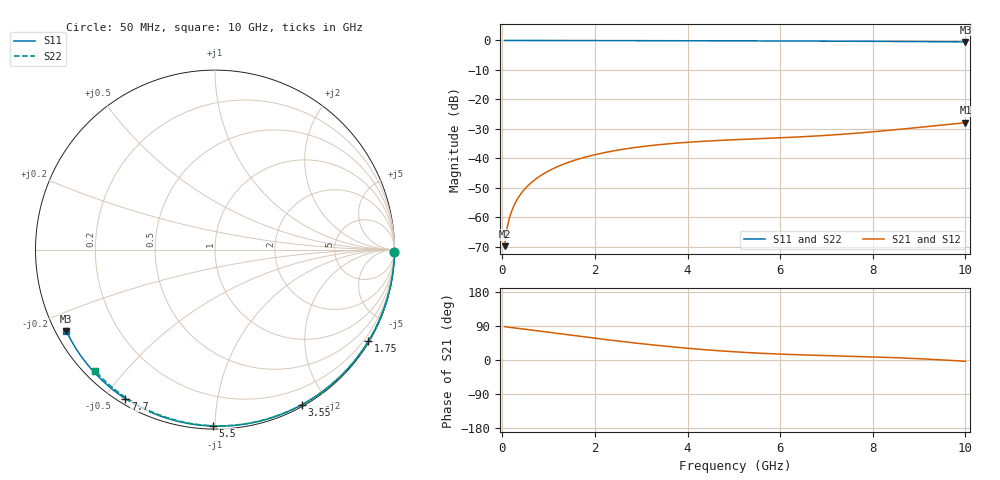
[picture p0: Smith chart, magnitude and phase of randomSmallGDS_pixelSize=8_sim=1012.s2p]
! freq	dB(S11)	phase(S11)	dB(S12)	phase(S12)
!  dB(S21)	phase(S21)	dB(S22)	phase(S22)
!S-par simulation data
#  GHz  S  DB  R 50
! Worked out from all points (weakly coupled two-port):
!   200 points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, 50 MHz to 10 GHz, reference 50 ohm
!   highest |S21| = -27.88 dB at 10 GHz (marker M1); lowest = -69.7 dB at 50 MHz (marker M2)
!   lowest |S11| = -0.5 dB at 10 GHz (marker M3), VSWR 34.93, Z = 1.53 - j12.8 ohm
!   |S11| at or under -10 dB: nowhere
!   |S22| runs from -0.4 to 0.0 dB; largest |S21 - S12| = 0
!   S11 on the Smith chart (normalised r, x): 50 MHz: open; 1.75 GHz: 0.03, -3.62; 3.55 GHz: 0.02, -1.70; 5.5 GHz: 0.02, -0.99; 7.7 GHz: 0.02, -0.57; 10 GHz: 0.03, -0.26
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0.05  -0.00 -0.9  -69.74 88.2  -69.74 88.2  -0.00 -0.8
0.1  -0.00 -1.8  -63.84 87.0  -63.84 87.0  -0.00 -1.6
0.15  -0.00 -2.7  -60.40 86.2  -60.40 86.2  -0.00 -2.4
0.2  -0.00 -3.6  -57.95 85.5  -57.95 85.5  -0.00 -3.2
0.25  -0.00 -4.5  -56.05 84.8  -56.05 84.8  -0.00 -4.0
0.35  -0.00 -6.3  -53.17 83.3  -53.17 83.3  -0.00 -5.5
0.5  -0.01 -9.0  -50.11 81.1  -50.11 81.1  -0.01 -7.9
0.7  -0.01 -12.5  -47.24 77.9  -47.24 77.9  -0.01 -11.0
1  -0.02 -17.8  -44.24 73.1  -44.24 73.1  -0.02 -15.7
1.35  -0.03 -24.0  -41.78 67.5  -41.78 67.5  -0.03 -21.1
1.75  -0.04 -30.9  -39.74 61.2  -39.74 61.2  -0.03 -27.2
2.5  -0.06 -43.7  -37.17 50.0  -37.17 50.0  -0.05 -38.5
3.4  -0.08 -58.5  -35.31 38.0  -35.31 38.0  -0.07 -51.7
3.55  -0.08 -60.9  -35.09 36.1  -35.09 36.1  -0.07 -53.8
4.3  -0.10 -72.6  -34.22 27.9  -34.22 27.9  -0.09 -64.4
5.05  -0.13 -84.0  -33.63 21.3  -33.63 21.3  -0.11 -74.6
5.5  -0.15 -90.6  -33.33 18.3  -33.33 18.3  -0.13 -80.5
6.7  -0.21 -107.5  -32.46 12.7  -32.46 12.7  -0.18 -95.8
7.7  -0.27 -121.1  -31.38 9.5  -31.38 9.5  -0.24 -107.9
8.35  -0.33 -129.6  -30.47 6.8  -30.47 6.8  -0.29 -115.6
9.2  -0.41 -140.8  -29.16 2.2  -29.16 2.2  -0.37 -125.4
10  -0.50 -151.3  -27.88 -3.4  -27.88 -3.4  -0.45 -134.5
